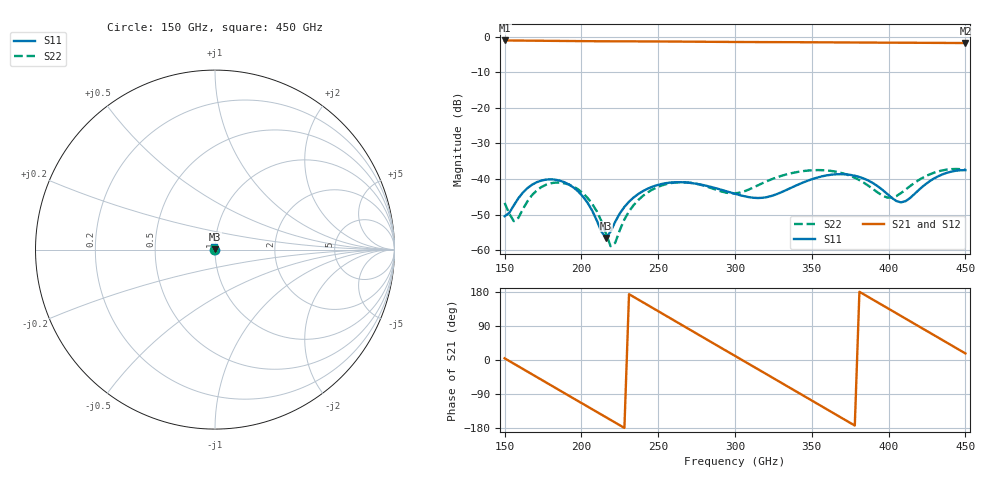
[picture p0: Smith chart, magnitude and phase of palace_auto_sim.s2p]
#  GHZ S DB R 50
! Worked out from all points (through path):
!   101 points, 150 GHz to 450 GHz, reference 50 ohm
!   highest |S21| = -1.06 dB at 150 GHz (marker M1); lowest = -1.8 dB at 450 GHz (marker M2)
!   group delay of S21, straight-line fit = 6.55 ps
!   lowest |S11| = -56.6 dB at 216 GHz (marker M3), VSWR 1.00, Z = 50 + j0.144 ohm
!   |S11| at or under -10 dB: start of sweep to end of sweep
!   |S22| runs from -58.9 to -37.2 dB; largest |S21 - S12| = 1.5e-12
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150  -50.48 -74.0  -1.06 4.5  -1.06 4.5  -46.73 -130.9
156  -47.43 -40.6  -1.08 -9.6  -1.08 -9.6  -51.88 -97.2
177  -40.18 -68.8  -1.15 -59.3  -1.15 -59.3  -41.62 -73.5
189  -40.94 -101.6  -1.20 -87.6  -1.20 -87.6  -41.22 -104.6
201  -44.95 -140.3  -1.25 -115.8  -1.25 -115.8  -44.01 -140.0
216  -56.56 104.0  -1.29 -151.0  -1.29 -151.0  -55.36 151.4
219  -54.81 62.2  -1.30 -158.1  -1.30 -158.1  -58.90 110.2
222  -52.04 36.4  -1.30 -165.1  -1.30 -165.1  -57.96 56.1
234  -45.21 -14.0  -1.32 166.6  -1.32 166.6  -47.35 -16.9
252  -41.44 -69.7  -1.35 124.1  -1.35 124.1  -41.87 -72.3
273  -41.23 -144.8  -1.40 74.4  -1.40 74.4  -41.21 -145.1
288  -42.66 150.1  -1.45 39.1  -1.45 39.1  -43.08 147.0
300  -44.17 89.4  -1.48 10.8  -1.48 10.8  -44.04 75.9
315  -45.36 1.6  -1.51 -24.5  -1.51 -24.5  -41.78 -10.9
330  -43.77 -86.6  -1.53 -59.8  -1.53 -59.8  -39.15 -76.9
351  -39.94 -177.9  -1.57 -109.3  -1.57 -109.3  -37.54 -153.2
366  -38.68 129.9  -1.60 -144.7  -1.60 -144.7  -37.99 154.4
378  -39.09 89.4  -1.63 -173.0  -1.63 -173.0  -39.68 109.6
402  -45.28 -16.6  -1.68 130.5  -1.68 130.5  -45.27 -28.5
411  -46.26 -88.3  -1.70 109.3  -1.70 109.3  -43.01 -89.9
426  -40.85 -172.7  -1.73 74.0  -1.73 74.0  -38.85 -155.8
450  -37.52 112.0  -1.79 17.4  -1.79 17.4  -37.41 126.8
